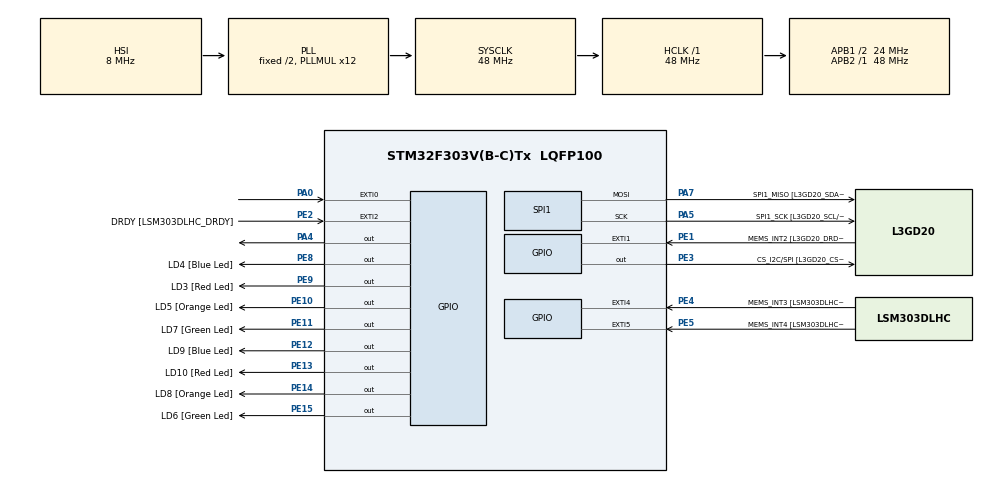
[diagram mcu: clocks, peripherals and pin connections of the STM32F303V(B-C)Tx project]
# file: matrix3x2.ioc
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Mcu.Family=STM32F3
Mcu.Name=STM32F303V(B-C)Tx
Mcu.Package=LQFP100
NVIC.EXTI0_IRQn=true\:1\:0\:true
NVIC.PriorityGroup=NVIC_PRIORITYGROUP_4
NVIC.TIM6_DAC_IRQn=true\:2\:0\:true
PA0.GPIO_ModeDefaultEXTI=GPIO_MODE_IT_RISING
PA0.GPIO_PuPd=GPIO_NOPULL
PA0.Signal=GPXTI0
PA11.GPIO_Label=DM
PA11.GPIO_Mode=GPIO_MODE_AF_PP
PA11.GPIO_PuPd=GPIO_NOPULL
PA11.GPIO_Speed=GPIO_SPEED_LOW
PA11.Signal=USB_DM
PA12.GPIO_Label=DP
PA12.GPIO_Mode=GPIO_MODE_AF_PP
PA12.GPIO_PuPd=GPIO_NOPULL
PA12.GPIO_Speed=GPIO_SPEED_LOW
PA12.Signal=USB_DP
PA13.GPIO_Label=SWDIO
PA13.Mode=Trace-Asynchronous_SW
PA13.Signal=SYS_JTMS-SWDIO
PA14.GPIO_Label=SWCLK
PA14.Mode=Trace-Asynchronous_SW
PA14.Signal=SYS_JTCK-SWCLK
PA4.Signal=GPIO_Output
PA5.GPIO_Label=SPI1_SCK [L3GD20_SCL/SPC]
PA5.GPIO_Mode=GPIO_MODE_AF_PP
PA5.GPIO_PuPd=GPIO_NOPULL
PA5.GPIO_Speed=GPIO_SPEED_LOW
PA5.Mode=TX_Only_Simplex_Unidirect_Master
PA5.Signal=SPI1_SCK
PA6.GPIO_Label=SPI1_MISO [L3GD20_SA0/SDO]
PA6.GPIO_Mode=GPIO_MODE_AF_PP
PA6.GPIO_PuPd=GPIO_NOPULL
PA6.GPIO_Speed=GPIO_SPEED_LOW
PA6.Signal=SPI1_MISO
PA7.GPIO_Label=SPI1_MISO [L3GD20_SDA/SDI/SDO]
PA7.GPIO_Mode=GPIO_MODE_AF_PP
PA7.GPIO_PuPd=GPIO_NOPULL
PA7.GPIO_Speed=GPIO_SPEED_LOW
PA7.Mode=TX_Only_Simplex_Unidirect_Master
PA7.Signal=SPI1_MOSI
PB3.GPIO_Label=SWO
PB3.Mode=Trace-Asynchronous_SW
PB3.Signal=SYS_JTDO-TRACESWO
PB6.GPIO_FM6=__NULL
PB6.GPIO_Label=I2C1_SCL [LSM303DLHC_SCL]
PB6.GPIO_Mode=GPIO_MODE_AF_OD
PB6.GPIO_PuPd=GPIO_NOPULL
PB6.GPIO_PuPdOD=GPIO_PULLUP
PB6.GPIO_Speed=GPIO_SPEED_LOW
PB6.Signal=I2C1_SCL
PB7.GPIO_FM7=__NULL
PB7.GPIO_Label=I2C1_SDA [LSM303DLHC_SDA]
PB7.GPIO_Mode=GPIO_MODE_AF_OD
PB7.GPIO_PuPd=GPIO_NOPULL
PB7.GPIO_PuPdOD=GPIO_PULLUP
PB7.GPIO_Speed=GPIO_SPEED_LOW
PB7.Signal=I2C1_SDA
PC14-OSC32_IN.GPIO_Label=OSC32_IN
PC14-OSC32_IN.Signal=RCC_OSC32_IN
PC15-OSC32_OUT.GPIO_Label=OSC32_OUT
PC15-OSC32_OUT.Signal=RCC_OSC32_OUT
PE1.GPIO_Label=MEMS_INT2 [L3GD20_DRDY/INT2]
PE1.GPIO_ModeDefaultEXTI=GPIO_MODE_EVT_RISING
PE1.GPIO_PuPd=GPIO_NOPULL
PE1.Signal=GPXTI1
PE10.GPIO_Label=LD5 [Orange Led]
PE10.GPIO_ModeDefaultOutputPP=GPIO_MODE_OUTPUT_PP
PE10.GPIO_PuPd=GPIO_NOPULL
PE10.GPIO_Speed=GPIO_SPEED_LOW
PE10.Signal=GPIO_Output
PE11.GPIO_Label=LD7 [Green Led]
PE11.GPIO_ModeDefaultOutputPP=GPIO_MODE_OUTPUT_PP
PE11.GPIO_PuPd=GPIO_NOPULL
PE11.GPIO_Speed=GPIO_SPEED_LOW
PE11.Signal=GPIO_Output
PE12.GPIO_Label=LD9 [Blue Led]
PE12.GPIO_ModeDefaultOutputPP=GPIO_MODE_OUTPUT_PP
PE12.GPIO_PuPd=GPIO_NOPULL
PE12.GPIO_Speed=GPIO_SPEED_LOW
PE12.Signal=GPIO_Output
PE13.GPIO_Label=LD10 [Red Led]
PE13.GPIO_ModeDefaultOutputPP=GPIO_MODE_OUTPUT_PP
PE13.GPIO_PuPd=GPIO_NOPULL
PE13.GPIO_Speed=GPIO_SPEED_LOW
PE13.Signal=GPIO_Output
PE14.GPIO_Label=LD8 [Orange Led]
PE14.GPIO_ModeDefaultOutputPP=GPIO_MODE_OUTPUT_PP
PE14.GPIO_PuPd=GPIO_NOPULL
PE14.GPIO_Speed=GPIO_SPEED_LOW
PE14.Signal=GPIO_Output
PE15.GPIO_Label=LD6 [Green Led]
PE15.GPIO_ModeDefaultOutputPP=GPIO_MODE_OUTPUT_PP
PE15.GPIO_PuPd=GPIO_NOPULL
PE15.GPIO_Speed=GPIO_SPEED_LOW
PE15.Signal=GPIO_Output
PE2.GPIO_Label=DRDY [LSM303DLHC_DRDY]
PE2.GPIO_ModeDefaultEXTI=GPIO_MODE_EVT_RISING
PE2.GPIO_PuPd=GPIO_NOPULL
PE2.Signal=GPXTI2
PE3.GPIO_Label=CS_I2C/SPI [L3GD20_CS_I2C/SPI]
PE3.GPIO_ModeDefaultOutputPP=GPIO_MODE_OUTPUT_PP
PE3.GPIO_PuPd=GPIO_NOPULL
PE3.GPIO_Speed=GPIO_SPEED_LOW
PE3.Signal=GPIO_Output
PE4.GPIO_Label=MEMS_INT3 [LSM303DLHC_INT1]
PE4.GPIO_ModeDefaultEXTI=GPIO_MODE_EVT_RISING
PE4.GPIO_PuPd=GPIO_NOPULL
PE4.Signal=GPXTI4
PE5.GPIO_Label=MEMS_INT4 [LSM303DLHC_INT2]
PE5.GPIO_ModeDefaultEXTI=GPIO_MODE_EVT_RISING
PE5.GPIO_PuPd=GPIO_NOPULL
PE5.Signal=GPXTI5
PE8.GPIO_Label=LD4 [Blue Led]
PE8.GPIO_ModeDefaultOutputPP=GPIO_MODE_OUTPUT_PP
PE8.GPIO_PuPd=GPIO_NOPULL
PE8.GPIO_Speed=GPIO_SPEED_LOW
PE8.Signal=GPIO_Output
PE9.GPIO_Label=LD3 [Red Led]
PE9.GPIO_ModeDefaultOutputPP=GPIO_MODE_OUTPUT_PP
PE9.GPIO_PuPd=GPIO_NOPULL
PE9.GPIO_Speed=GPIO_SPEED_LOW
PE9.Signal=GPIO_Output
PF0-OSC_IN.GPIO_Label=OSC_IN
PF0-OSC_IN.Signal=RCC_OSC_IN
PF1-OSC_OUT.GPIO_Label=OSC_OUT
PF1-OSC_OUT.Signal=RCC_OSC_OUT
ProjectManager.TargetToolchain=EWARM 6.70
RCC.AHBFreq_Value=48000000
RCC.APB1CLKDivider=RCC_HCLK_DIV2
RCC.APB1Freq_Value=24000000
RCC.APB1TimFreq_Value=48000000
RCC.APB2Freq_Value=48000000
RCC.APB2TimFreq_Value=48000000
RCC.CortexFreq_Value=6000000
RCC.HCLKFreq_Value=48000000
RCC.HSE_VALUE=8000000
RCC.HSI_VALUE=8000000
RCC.LSE_VALUE=32768
RCC.MCOEnable=true
RCC.PLLMUL=RCC_PLL_MUL12
RCC.SYSCLKFreq_VALUE=48000000
RCC.SYSCLKSourceVirtual=RCC_SYSCLKSOURCE_PLLCLK
RCC.USBFreq_Value=48000000
SPI1.BaudRatePrescaler-TX_Only_Simplex_Unidirect_Master=SPI_BAUDRATEPRESCALER_4
SPI1.CalculateBaudRate-TX_Only_Simplex_Unidirect_Master=12.0 MBits/s
SPI1.DataSize-TX_Only_Simplex_Unidirect_Master=SPI_DATASIZE_8BIT
SPI1.FirstBit-TX_Only_Simplex_Unidirect_Master=SPI_FIRSTBIT_LSB
SPI1.Mode-TX_Only_Simplex_Unidirect_Master=SPI_MODE_MASTER
SPI1.NSS-TX_Only_Simplex_Unidirect_Master=SPI_NSS_HARD_OUTPUT
SPI1.NSSPMode-TX_Only_Simplex_Unidirect_Master=SPI_NSS_PULSE_DISABLED
SPI1.TIMode-TX_Only_Simplex_Unidirect_Master=SPI_TIMODE_DISABLED
TIM6.Period=10000
TIM6.Prescaler=1
TIM6.TIM_MasterOutputTrigger=TIM_TRGO_RESET
VP_TIM6_VS_ClockSourceINT.Mode=Enable_Timer

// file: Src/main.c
/**
  ******************************************************************************
  * File Name          : main.c
  * Date               : 22/01/2015 08:46:23
  * Description        : Main program body
  ******************************************************************************
  *
  * COPYRIGHT(c) 2015 STMicroelectronics
  *
  * Redistribution and use in source and binary forms, with or without modification,
  * are permitted provided that the following conditions are met:
  *   1. Redistributions of source code must retain the above copyright notice,
  *      this list of conditions and the following disclaimer.
  *   2. Redistributions in binary form must reproduce the above copyright notice,
  *      this list of conditions and the following disclaimer in the documentation
  *      and/or other materials provided with the distribution.
  *   3. Neither the name of STMicroelectronics nor the names of its contributors
  *      may be used to endorse or promote products derived from this software
  *      without specific prior written permission.
  *
  * THIS SOFTWARE IS PROVIDED BY THE COPYRIGHT HOLDERS AND CONTRIBUTORS "AS IS"
  * AND ANY EXPRESS OR IMPLIED WARRANTIES, INCLUDING, BUT NOT LIMITED TO, THE
  * IMPLIED WARRANTIES OF MERCHANTABILITY AND FITNESS FOR A PARTICULAR PURPOSE ARE
  * DISCLAIMED. IN NO EVENT SHALL THE COPYRIGHT HOLDER OR CONTRIBUTORS BE LIABLE
  * FOR ANY DIRECT, INDIRECT, INCIDENTAL, SPECIAL, EXEMPLARY, OR CONSEQUENTIAL
  * DAMAGES (INCLUDING, BUT NOT LIMITED TO, PROCUREMENT OF SUBSTITUTE GOODS OR
  * SERVICES; LOSS OF USE, DATA, OR PROFITS; OR BUSINESS INTERRUPTION) HOWEVER
  * CAUSED AND ON ANY THEORY OF LIABILITY, WHETHER IN CONTRACT, STRICT LIABILITY,
  * OR TORT (INCLUDING NEGLIGENCE OR OTHERWISE) ARISING IN ANY WAY OUT OF THE USE
  * OF THIS SOFTWARE, EVEN IF ADVISED OF THE POSSIBILITY OF SUCH DAMAGE.
  *
  ******************************************************************************
  */

#include "stm32f3xx_hal.h"

SPI_HandleTypeDef hspi1;

TIM_HandleTypeDef htim6;

/* USER CODE BEGIN PV */
short i = 7;
short j = 0;
uint8_t pData[24];
char bufferData [8][4] = {
0x7F,0xE7,0xE7,0xE7,
0xBF,0xDB,0xDB,0xDB,
0xDF,0xDB,0xDB,0xDB,
0xEF,0xBD,0xBD,0xBD,
0xF7,0x81,0x81,0x81,
0xFB,0xBD,0xBD,0xBD,
0xFD,0xBD,0xBD,0xBD,
0xFE,0xBD,0xBD,0xBD,
};
char AData[8][4] = {
0x7F,0xE7,0xE7,0xE7,
0xBF,0xDB,0xDB,0xDB,
0xDF,0xDB,0xDB,0xDB,
0xEF,0xBD,0xBD,0xBD,
0xF7,0x81,0x81,0x81,
0xFB,0xBD,0xBD,0xBD,
0xFD,0xBD,0xBD,0xBD,
0xFE,0xBD,0xBD,0xBD,
};
char BData[8][4] = {
0x7F,0x83,0x83,0x83,
0xBF,0xBF,0xBF,0xBF,
0xDF,0xBF,0xBF,0xBF,
0xEF,0x83,0x83,0x83,
0xF7,0xBD,0xBD,0xBD,
0xFB,0xBD,0xBD,0xBD,
0xFD,0xBD,0xBD,0xBD,
0xFE,0x83,0x83,0x83,
};
char arrowData[8][4] = {
0x7F,0xE7,0xE7,0xE7,
0xBF,0xF3,0xF3,0xF3,
0xDF,0xF9,0xF9,0xF9,
0xEF,0x0,0x0,0x0,
0xF7,0x0,0x0,0x0,
0xFB,0xF9,0xF9,0xF9,
0xFD,0xF3,0xF3,0xF3,
0xFE,0xE7,0xE7,0xE7,
};
/*char indexData[8][4];*/

/* USER CODE END PV */

void SystemClock_Config(void);
static void MX_GPIO_Init(void);
static void MX_SPI1_Init(void);
static void MX_TIM6_Init(void);

/* USER CODE BEGIN PFP */
void change_line(short i)
{
pData[0] = bufferData[i][0];
pData[1] = bufferData[i][1];
pData[2] = bufferData[i][2];
pData[3] = bufferData[i][3];
pData[4] = bufferData[i][0];
pData[5] = bufferData[i][1];
pData[6] = bufferData[i][2];
pData[7] = bufferData[i][3];
pData[8] = bufferData[i][0];
pData[9] = bufferData[i][1];
pData[10] = bufferData[i][2];
pData[11] = bufferData[i][3];
pData[12] = bufferData[i][0];
pData[13] = bufferData[i][1];
pData[14] = bufferData[i][2];
pData[15] = bufferData[i][3];
pData[16] = bufferData[i][0];
pData[17] = bufferData[i][1];
pData[18] = bufferData[i][2];
pData[19] = bufferData[i][3];
pData[20] = bufferData[i][0];
pData[21] = bufferData[i][1];
pData[22] = bufferData[i][2];
pData[23] = bufferData[i][3];
}
/* USER CODE END PFP */

int main(void)
{

  /* MCU Configuration----------------------------------------------------------*/

  /* Reset of all peripherals, Initializes the Flash interface and the Systick. */
  HAL_Init();

  /* Configure the system clock */
  SystemClock_Config();

  /* Initialize all configured peripherals */
  MX_GPIO_Init();
  MX_SPI1_Init();
  MX_TIM6_Init();

  /* USER CODE BEGIN 2 */
HAL_TIM_Base_Start_IT(&htim6);
  /* USER CODE END 2 */

  while (1)
  {
  }

}

/** System Clock Configuration
*/
void SystemClock_Config(void)
{

  RCC_OscInitTypeDef RCC_OscInitStruct;
  RCC_ClkInitTypeDef RCC_ClkInitStruct;

  RCC_OscInitStruct.OscillatorType = RCC_OSCILLATORTYPE_HSI;
  RCC_OscInitStruct.HSIState = RCC_HSI_ON;
  RCC_OscInitStruct.HSICalibrationValue = 16;
  RCC_OscInitStruct.PLL.PLLState = RCC_PLL_ON;
  RCC_OscInitStruct.PLL.PLLSource = RCC_PLLSOURCE_HSI;
  RCC_OscInitStruct.PLL.PLLMUL = RCC_PLL_MUL12;
  HAL_RCC_OscConfig(&RCC_OscInitStruct);

  RCC_ClkInitStruct.ClockType = RCC_CLOCKTYPE_SYSCLK|RCC_CLOCKTYPE_PCLK1;
  RCC_ClkInitStruct.SYSCLKSource = RCC_SYSCLKSOURCE_PLLCLK;
  RCC_ClkInitStruct.AHBCLKDivider = RCC_SYSCLK_DIV1;
  RCC_ClkInitStruct.APB1CLKDivider = RCC_HCLK_DIV2;
  RCC_ClkInitStruct.APB2CLKDivider = RCC_HCLK_DIV1;
  HAL_RCC_ClockConfig(&RCC_ClkInitStruct, FLASH_LATENCY_1);

  __SYSCFG_CLK_ENABLE();

}

/* SPI1 init function */
void MX_SPI1_Init(void)
{

  hspi1.Instance = SPI1;
  hspi1.Init.Mode = SPI_MODE_MASTER;
  hspi1.Init.Direction = SPI_DIRECTION_2LINES;
  hspi1.Init.DataSize = SPI_DATASIZE_8BIT;
  hspi1.Init.CLKPolarity = SPI_POLARITY_LOW;
  hspi1.Init.CLKPhase = SPI_PHASE_1EDGE;
  hspi1.Init.NSS = SPI_NSS_SOFT;
  hspi1.Init.BaudRatePrescaler = SPI_BAUDRATEPRESCALER_4;
  hspi1.Init.FirstBit = SPI_FIRSTBIT_LSB;
  hspi1.Init.TIMode = SPI_TIMODE_DISABLED;
  hspi1.Init.CRCCalculation = SPI_CRCCALCULATION_DISABLED;
  hspi1.Init.NSSPMode = SPI_NSS_PULSE_DISABLED;
  HAL_SPI_Init(&hspi1);

}

/* TIM6 init function */
void MX_TIM6_Init(void)
{

  TIM_MasterConfigTypeDef sMasterConfig;

  htim6.Instance = TIM6;
  htim6.Init.Prescaler = 1;
  htim6.Init.CounterMode = TIM_COUNTERMODE_UP;
  htim6.Init.Period = 10000;
  HAL_TIM_Base_Init(&htim6);

  sMasterConfig.MasterOutputTrigger = TIM_TRGO_RESET;
  sMasterConfig.MasterSlaveMode = TIM_MASTERSLAVEMODE_DISABLE;
  HAL_TIMEx_MasterConfigSynchronization(&htim6, &sMasterConfig);

}

/** Configure pins as
        * Analog
        * Input
        * Output
        * EVENT_OUT
        * EXTI
     PA11   ------> USB_DM
     PA12   ------> USB_DP
     PB6   ------> I2C1_SCL
     PB7   ------> I2C1_SDA
*/
void MX_GPIO_Init(void)
{

  GPIO_InitTypeDef GPIO_InitStruct;

  /* GPIO Ports Clock Enable */
  __GPIOE_CLK_ENABLE();
  __GPIOC_CLK_ENABLE();
  __GPIOF_CLK_ENABLE();
  __GPIOA_CLK_ENABLE();
  __GPIOB_CLK_ENABLE();

  /*Configure GPIO pins : PE2 PE4 PE5 PE1 */
  GPIO_InitStruct.Pin = GPIO_PIN_2|GPIO_PIN_4|GPIO_PIN_5|GPIO_PIN_1;
  GPIO_InitStruct.Mode = GPIO_MODE_EVT_RISING;
  GPIO_InitStruct.Pull = GPIO_NOPULL;
  HAL_GPIO_Init(GPIOE, &GPIO_InitStruct);

  /*Configure GPIO pins : PE3 PE8 PE9 PE10
                           PE11 PE12 PE13 PE14
                           PE15 */
  GPIO_InitStruct.Pin = GPIO_PIN_3|GPIO_PIN_8|GPIO_PIN_9|GPIO_PIN_10
                          |GPIO_PIN_11|GPIO_PIN_12|GPIO_PIN_13|GPIO_PIN_14
                          |GPIO_PIN_15;
  GPIO_InitStruct.Mode = GPIO_MODE_OUTPUT_PP;
  GPIO_InitStruct.Pull = GPIO_NOPULL;
  GPIO_InitStruct.Speed = GPIO_SPEED_LOW;
  HAL_GPIO_Init(GPIOE, &GPIO_InitStruct);

  /*Configure GPIO pin : PA0 */
  GPIO_InitStruct.Pin = GPIO_PIN_0;
  GPIO_InitStruct.Mode = GPIO_MODE_IT_RISING;
  GPIO_InitStruct.Pull = GPIO_NOPULL;
  HAL_GPIO_Init(GPIOA, &GPIO_InitStruct);

  /*Configure GPIO pin : PA4 */
  GPIO_InitStruct.Pin = GPIO_PIN_4;
  GPIO_InitStruct.Mode = GPIO_MODE_OUTPUT_PP;
  GPIO_InitStruct.Pull = GPIO_NOPULL;
  GPIO_InitStruct.Speed = GPIO_SPEED_LOW;
  HAL_GPIO_Init(GPIOA, &GPIO_InitStruct);

  /*Configure GPIO pins : PA11 PA12 */
  GPIO_InitStruct.Pin = GPIO_PIN_11|GPIO_PIN_12;
  GPIO_InitStruct.Mode = GPIO_MODE_AF_PP;
  GPIO_InitStruct.Pull = GPIO_NOPULL;
  GPIO_InitStruct.Speed = GPIO_SPEED_LOW;
  GPIO_InitStruct.Alternate = GPIO_AF14_USB;
  HAL_GPIO_Init(GPIOA, &GPIO_InitStruct);

  /*Configure GPIO pins : PB6 PB7 */
  GPIO_InitStruct.Pin = GPIO_PIN_6|GPIO_PIN_7;
  GPIO_InitStruct.Mode = GPIO_MODE_AF_OD;
  GPIO_InitStruct.Pull = GPIO_PULLUP;
  GPIO_InitStruct.Speed = GPIO_SPEED_LOW;
  GPIO_InitStruct.Alternate = GPIO_AF4_I2C1;
  HAL_GPIO_Init(GPIOB, &GPIO_InitStruct);

  /* EXTI interrupt init*/
  HAL_NVIC_SetPriority(EXTI0_IRQn, 1, 0);
  HAL_NVIC_EnableIRQ(EXTI0_IRQn);

}

/* USER CODE BEGIN 4 */

void HAL_TIM_PeriodElapsedCallback(TIM_HandleTypeDef *htim)
{

  change_line(i);
  HAL_SPI_Transmit(&hspi1, pData, 24, 100);
  HAL_GPIO_WritePin(GPIOA, GPIO_PIN_4,GPIO_PIN_SET);
  HAL_GPIO_WritePin(GPIOA, GPIO_PIN_4,GPIO_PIN_RESET);
  i--;
  if (i < 0)
  {
    i=7;
  }
}
void HAL_GPIO_EXTI_Callback(uint16_t GPIO_Pin0)
{
  if (j>2)
  {
    j=0;
  }
  if (j==0)
  {
    for (int k = 0; k < 8; k++) {
      for (int z = 0; z < 4; z++){
        bufferData [k][z] = AData [k][z];
      }
    }
  }
  else if (j==1)
  {
    for (int k = 0; k < 8; k++) {
      for (int z = 0; z < 4; z++){
        bufferData [k][z] = arrowData [k][z];
      }
    }

  }
  else
  {
    for (int k = 0; k < 8; k++) {
      for (int z = 0; z < 4; z++){
        bufferData [k][z] = BData [k][z];
      }
    }
  }
  j++;

}

/* USER CODE END 4 */

/************************ (C) COPYRIGHT STMicroelectronics *****END OF FILE****/
